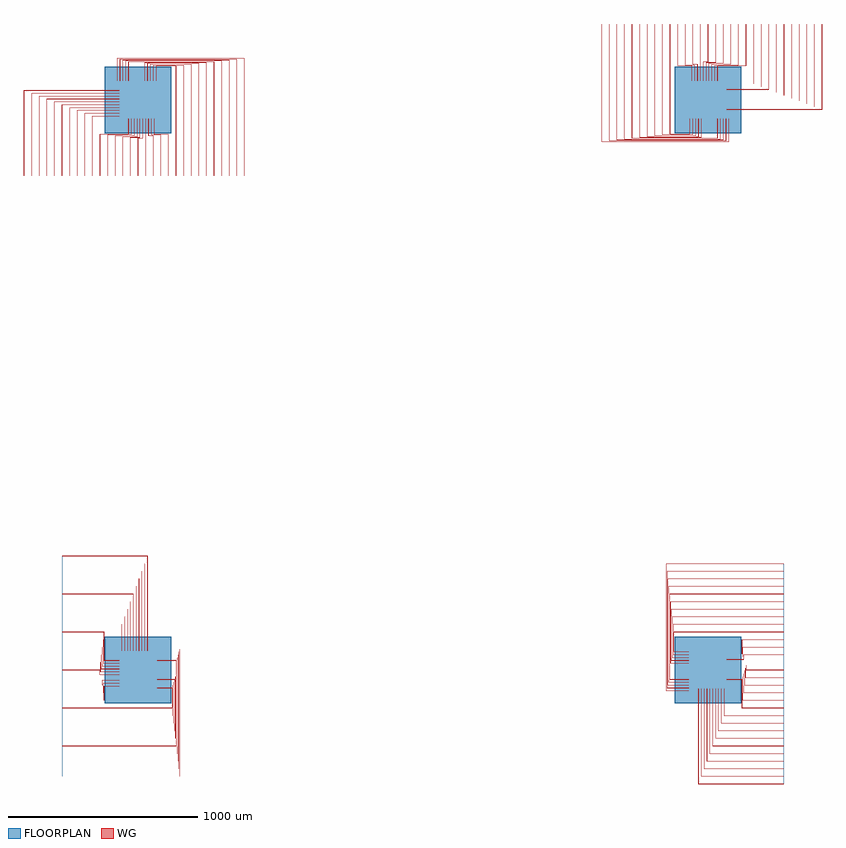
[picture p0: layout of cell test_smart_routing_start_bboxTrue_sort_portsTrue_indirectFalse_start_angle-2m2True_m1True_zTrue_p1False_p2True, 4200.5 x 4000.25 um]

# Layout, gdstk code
import gdstk
lib = gdstk.Library(unit=1e-6, precision=1e-09)
def R(c, l, rs):  # rectangles x0, y0, x1, y1
    for r in rs: c.add(gdstk.rectangle(r[:2], r[2:], *l))
def P(c, l, *ps):  # polygons
    for p in ps: c.add(gdstk.Polygon(p, *l))
WG = (1, 0)
FLOORPLAN = (10, 0)

test_smart_routing_start = lib.new_cell('test_smart_routing_start_bboxTrue_sort_portsTrue_indirectFalse_start_angle-2m2True_m1True_zTrue_p1False_p2True')
R(test_smart_routing_start, WG, [(-400,-40.25,-100,-39.75), (3100,39.75,3400,40.25), (39.75,2600,40.25,2900), (2959.75,3100,2960.25,3400)])
P(test_smart_routing_start, WG, [(3100,2949.75),(3100,2950.25),(3599.75,2950.25),(3599.75,3400),(3600.25,3400),(3600.25,2949.75)],
  [(3100,2964.75),(3100,2965.25),(3559.75,2965.25),(3559.75,3400),(3560.25,3400),(3560.25,2964.75)],
  [(3100,2979.75),(3100,2980.25),(3519.75,2980.25),(3519.75,3400),(3520.25,3400),(3520.25,2979.75)],
  [(3100,2994.75),(3100,2995.25),(3479.75,2995.25),(3479.75,3400),(3480.25,3400),(3480.25,2994.75)],
  [(3100,3009.75),(3100,3010.25),(3439.75,3010.25),(3439.75,3400),(3440.25,3400),(3440.25,3009.75)],
  [(3100,3024.75),(3100,3025.25),(3399.75,3025.25),(3399.75,3400),(3400.25,3400),(3400.25,3024.75)],
  [(3100,3039.75),(3100,3040.25),(3359.75,3040.25),(3359.75,3400),(3360.25,3400),(3360.25,3039.75)],
  [(3100,3054.75),(3100,3055.25),(3319.75,3055.25),(3319.75,3400),(3320.25,3400),(3320.25,3054.75)],
  [(3100,3069.75),(3100,3070.25),(3279.75,3070.25),(3279.75,3400),(3280.25,3400),(3280.25,3069.75)],
  [(3100,3084.75),(3100,3085.25),(3239.75,3085.25),(3239.75,3400),(3240.25,3400),(3240.25,3084.75)],
  [(3049.75,3100),(3049.75,3179.5),(3199.75,3179.5),(3199.75,3400),(3200.25,3400),(3200.25,3179),(3050.25,3179),(3050.25,3100)],
  [(3034.75,3100),(3034.75,3184),(3159.75,3184),(3159.75,3400),(3160.25,3400),(3160.25,3183.5),(3035.25,3183.5),(3035.25,3100)],
  [(3019.75,3100),(3019.75,3188.5),(3119.75,3188.5),(3119.75,3400),(3120.25,3400),(3120.25,3188),(3020.25,3188),(3020.25,3100)],
  [(3004.75,3100),(3004.75,3193),(3079.75,3193),(3079.75,3400),(3080.25,3400),(3080.25,3192.5),(3005.25,3192.5),(3005.25,3100)],
  [(2989.75,3100),(2989.75,3197.5),(3039.75,3197.5),(3039.75,3400),(3040.25,3400),(3040.25,3197),(2990.25,3197),(2990.25,3100)],
  [(2974.75,3100),(2974.75,3202),(2999.75,3202),(2999.75,3400),(3000.25,3400),(3000.25,3201.5),(2975.25,3201.5),(2975.25,3100)],
  [(2944.75,3100),(2944.75,3188),(2919.75,3188),(2919.75,3400),(2920.25,3400),(2920.25,3188.5),(2945.25,3188.5),(2945.25,3100)],
  [(2929.75,3100),(2929.75,3183.5),(2879.75,3183.5),(2879.75,3400),(2880.25,3400),(2880.25,3184),(2930.25,3184),(2930.25,3100)],
  [(2914.75,3100),(2914.75,3179),(2839.75,3179),(2839.75,3400),(2840.25,3400),(2840.25,3179.5),(2915.25,3179.5),(2915.25,3100)],
  [(2799.75,2820.5),(2799.75,3400),(2800.25,3400),(2800.25,2821),(2904.75,2821),(2904.75,2900),(2905.25,2900),(2905.25,2820.5)],
  [(2759.75,2816),(2759.75,3400),(2760.25,3400),(2760.25,2816.5),(2919.75,2816.5),(2919.75,2900),(2920.25,2900),(2920.25,2816)],
  [(2719.75,2811.5),(2719.75,3400),(2720.25,3400),(2720.25,2812),(2934.75,2812),(2934.75,2900),(2935.25,2900),(2935.25,2811.5)],
  [(2679.75,2807),(2679.75,3400),(2680.25,3400),(2680.25,2807.5),(2949.75,2807.5),(2949.75,2900),(2950.25,2900),(2950.25,2807)],
  [(2639.75,2802.5),(2639.75,3400),(2640.25,3400),(2640.25,2803),(2964.75,2803),(2964.75,2900),(2965.25,2900),(2965.25,2802.5)],
  [(2599.75,2798),(2599.75,3400),(2600.25,3400),(2600.25,2798.5),(3049.75,2798.5),(3049.75,2900),(3050.25,2900),(3050.25,2798)],
  [(2559.75,2793.5),(2559.75,3400),(2560.25,3400),(2560.25,2794),(3064.75,2794),(3064.75,2900),(3065.25,2900),(3065.25,2793.5)],
  [(2519.75,2789),(2519.75,3400),(2520.25,3400),(2520.25,2789.5),(3079.75,2789.5),(3079.75,2900),(3080.25,2900),(3080.25,2789)],
  [(2479.75,2784.5),(2479.75,3400),(2480.25,3400),(2480.25,2785),(3094.75,2785),(3094.75,2900),(3095.25,2900),(3095.25,2784.5)],
  [(2439.75,2780),(2439.75,3400),(2440.25,3400),(2440.25,2780.5),(3109.75,2780.5),(3109.75,2900),(3110.25,2900),(3110.25,2780)],
  [(-600.25,2600),(-600.25,3050.25),(-100,3050.25),(-100,3049.75),(-599.75,3049.75),(-599.75,2600)],
  [(-560.25,2600),(-560.25,3035.25),(-100,3035.25),(-100,3034.75),(-559.75,3034.75),(-559.75,2600)],
  [(-520.25,2600),(-520.25,3020.25),(-100,3020.25),(-100,3019.75),(-519.75,3019.75),(-519.75,2600)],
  [(-480.25,2600),(-480.25,3005.25),(-100,3005.25),(-100,3004.75),(-479.75,3004.75),(-479.75,2600)],
  [(-440.25,2600),(-440.25,2990.25),(-100,2990.25),(-100,2989.75),(-439.75,2989.75),(-439.75,2600)],
  [(-400.25,2600),(-400.25,2975.25),(-100,2975.25),(-100,2974.75),(-399.75,2974.75),(-399.75,2600)],
  [(-360.25,2600),(-360.25,2960.25),(-100,2960.25),(-100,2959.75),(-359.75,2959.75),(-359.75,2600)],
  [(-320.25,2600),(-320.25,2945.25),(-100,2945.25),(-100,2944.75),(-319.75,2944.75),(-319.75,2600)],
  [(-280.25,2600),(-280.25,2930.25),(-100,2930.25),(-100,2929.75),(-279.75,2929.75),(-279.75,2600)],
  [(-240.25,2600),(-240.25,2915.25),(-100,2915.25),(-100,2914.75),(-239.75,2914.75),(-239.75,2600)],
  [(-200.25,2600),(-200.25,2821),(-50.25,2821),(-50.25,2900),(-49.75,2900),(-49.75,2820.5),(-199.75,2820.5),(-199.75,2600)],
  [(-160.25,2600),(-160.25,2816.5),(-35.25,2816.5),(-35.25,2900),(-34.75,2900),(-34.75,2816),(-159.75,2816),(-159.75,2600)],
  [(-120.25,2600),(-120.25,2812),(-20.25,2812),(-20.25,2900),(-19.75,2900),(-19.75,2811.5),(-119.75,2811.5),(-119.75,2600)],
  [(-80.25,2600),(-80.25,2807.5),(-5.25,2807.5),(-5.25,2900),(-4.75,2900),(-4.75,2807),(-79.75,2807),(-79.75,2600)],
  [(-40.25,2600),(-40.25,2803),(9.75,2803),(9.75,2900),(10.25,2900),(10.25,2802.5),(-39.75,2802.5),(-39.75,2600)],
  [(-0.25,2600),(-0.25,2798.5),(24.75,2798.5),(24.75,2900),(25.25,2900),(25.25,2798),(0.25,2798),(0.25,2600)],
  [(79.75,2600),(79.75,2811.5),(54.75,2811.5),(54.75,2900),(55.25,2900),(55.25,2812),(80.25,2812),(80.25,2600)],
  [(119.75,2600),(119.75,2816),(69.75,2816),(69.75,2900),(70.25,2900),(70.25,2816.5),(120.25,2816.5),(120.25,2600)],
  [(159.75,2600),(159.75,2820.5),(84.75,2820.5),(84.75,2900),(85.25,2900),(85.25,2821),(160.25,2821),(160.25,2600)],
  [(199.75,2600),(199.75,3179),(95.25,3179),(95.25,3100),(94.75,3100),(94.75,3179.5),(200.25,3179.5),(200.25,2600)],
  [(239.75,2600),(239.75,3183.5),(80.25,3183.5),(80.25,3100),(79.75,3100),(79.75,3184),(240.25,3184),(240.25,2600)],
  [(279.75,2600),(279.75,3188),(65.25,3188),(65.25,3100),(64.75,3100),(64.75,3188.5),(280.25,3188.5),(280.25,2600)],
  [(319.75,2600),(319.75,3192.5),(50.25,3192.5),(50.25,3100),(49.75,3100),(49.75,3193),(320.25,3193),(320.25,2600)],
  [(359.75,2600),(359.75,3197),(35.25,3197),(35.25,3100),(34.75,3100),(34.75,3197.5),(360.25,3197.5),(360.25,2600)],
  [(399.75,2600),(399.75,3201.5),(-49.75,3201.5),(-49.75,3100),(-50.25,3100),(-50.25,3202),(400.25,3202),(400.25,2600)],
  [(439.75,2600),(439.75,3206),(-64.75,3206),(-64.75,3100),(-65.25,3100),(-65.25,3206.5),(440.25,3206.5),(440.25,2600)],
  [(479.75,2600),(479.75,3210.5),(-79.75,3210.5),(-79.75,3100),(-80.25,3100),(-80.25,3211),(480.25,3211),(480.25,2600)],
  [(519.75,2600),(519.75,3215),(-94.75,3215),(-94.75,3100),(-95.25,3100),(-95.25,3215.5),(520.25,3215.5),(520.25,2600)],
  [(559.75,2600),(559.75,3219.5),(-109.75,3219.5),(-109.75,3100),(-110.25,3100),(-110.25,3220),(560.25,3220),(560.25,2600)],
  [(49.75,100),(49.75,599.75),(-400,599.75),(-400,600.25),(50.25,600.25),(50.25,100)],
  [(34.75,100),(34.75,559.75),(-400,559.75),(-400,560.25),(35.25,560.25),(35.25,100)],
  [(19.75,100),(19.75,519.75),(-400,519.75),(-400,520.25),(20.25,520.25),(20.25,100)],
  [(4.75,100),(4.75,479.75),(-400,479.75),(-400,480.25),(5.25,480.25),(5.25,100)],
  [(-10.25,100),(-10.25,439.75),(-400,439.75),(-400,440.25),(-9.75,440.25),(-9.75,100)],
  [(-25.25,100),(-25.25,399.75),(-400,399.75),(-400,400.25),(-24.75,400.25),(-24.75,100)],
  [(-40.25,100),(-40.25,359.75),(-400,359.75),(-400,360.25),(-39.75,360.25),(-39.75,100)],
  [(-55.25,100),(-55.25,319.75),(-400,319.75),(-400,320.25),(-54.75,320.25),(-54.75,100)],
  [(-70.25,100),(-70.25,279.75),(-400,279.75),(-400,280.25),(-69.75,280.25),(-69.75,100)],
  [(-85.25,100),(-85.25,239.75),(-400,239.75),(-400,240.25),(-84.75,240.25),(-84.75,100)],
  [(-179.5,49.75),(-179.5,199.75),(-400,199.75),(-400,200.25),(-179,200.25),(-179,50.25),(-100,50.25),(-100,49.75)],
  [(-184,34.75),(-184,159.75),(-400,159.75),(-400,160.25),(-183.5,160.25),(-183.5,35.25),(-100,35.25),(-100,34.75)],
  [(-188.5,19.75),(-188.5,119.75),(-400,119.75),(-400,120.25),(-188,120.25),(-188,20.25),(-100,20.25),(-100,19.75)],
  [(-193,4.75),(-193,79.75),(-400,79.75),(-400,80.25),(-192.5,80.25),(-192.5,5.25),(-100,5.25),(-100,4.75)],
  [(-197.5,-10.25),(-197.5,39.75),(-400,39.75),(-400,40.25),(-197,40.25),(-197,-9.75),(-100,-9.75),(-100,-10.25)],
  [(-202,-25.25),(-202,-0.25),(-400,-0.25),(-400,0.25),(-201.5,0.25),(-201.5,-24.75),(-100,-24.75),(-100,-25.25)],
  [(-400,-80.25),(-400,-79.75),(-188.5,-79.75),(-188.5,-54.75),(-100,-54.75),(-100,-55.25),(-188,-55.25),(-188,-80.25)],
  [(-400,-120.25),(-400,-119.75),(-184,-119.75),(-184,-69.75),(-100,-69.75),(-100,-70.25),(-183.5,-70.25),(-183.5,-120.25)],
  [(-400,-160.25),(-400,-159.75),(-179.5,-159.75),(-179.5,-84.75),(-100,-84.75),(-100,-85.25),(-179,-85.25),(-179,-160.25)],
  [(-400,-200.25),(-400,-199.75),(179,-199.75),(179,-95.25),(100,-95.25),(100,-94.75),(179.5,-94.75),(179.5,-200.25)],
  [(-400,-240.25),(-400,-239.75),(183.5,-239.75),(183.5,-80.25),(100,-80.25),(100,-79.75),(184,-79.75),(184,-240.25)],
  [(-400,-280.25),(-400,-279.75),(188,-279.75),(188,-65.25),(100,-65.25),(100,-64.75),(188.5,-64.75),(188.5,-280.25)],
  [(-400,-320.25),(-400,-319.75),(192.5,-319.75),(192.5,-50.25),(100,-50.25),(100,-49.75),(193,-49.75),(193,-320.25)],
  [(-400,-360.25),(-400,-359.75),(197,-359.75),(197,-35.25),(100,-35.25),(100,-34.75),(197.5,-34.75),(197.5,-360.25)],
  [(-400,-400.25),(-400,-399.75),(201.5,-399.75),(201.5,49.75),(100,49.75),(100,50.25),(202,50.25),(202,-400.25)],
  [(-400,-440.25),(-400,-439.75),(206,-439.75),(206,64.75),(100,64.75),(100,65.25),(206.5,65.25),(206.5,-440.25)],
  [(-400,-480.25),(-400,-479.75),(210.5,-479.75),(210.5,79.75),(100,79.75),(100,80.25),(211,80.25),(211,-480.25)],
  [(-400,-520.25),(-400,-519.75),(215,-519.75),(215,94.75),(100,94.75),(100,95.25),(215.5,95.25),(215.5,-520.25)],
  [(-400,-560.25),(-400,-559.75),(219.5,-559.75),(219.5,109.75),(100,109.75),(100,110.25),(220,110.25),(220,-560.25)],
  [(2949.75,-600.25),(2949.75,-100),(2950.25,-100),(2950.25,-599.75),(3400,-599.75),(3400,-600.25)],
  [(2964.75,-560.25),(2964.75,-100),(2965.25,-100),(2965.25,-559.75),(3400,-559.75),(3400,-560.25)],
  [(2979.75,-520.25),(2979.75,-100),(2980.25,-100),(2980.25,-519.75),(3400,-519.75),(3400,-520.25)],
  [(2994.75,-480.25),(2994.75,-100),(2995.25,-100),(2995.25,-479.75),(3400,-479.75),(3400,-480.25)],
  [(3009.75,-440.25),(3009.75,-100),(3010.25,-100),(3010.25,-439.75),(3400,-439.75),(3400,-440.25)],
  [(3024.75,-400.25),(3024.75,-100),(3025.25,-100),(3025.25,-399.75),(3400,-399.75),(3400,-400.25)],
  [(3039.75,-360.25),(3039.75,-100),(3040.25,-100),(3040.25,-359.75),(3400,-359.75),(3400,-360.25)],
  [(3054.75,-320.25),(3054.75,-100),(3055.25,-100),(3055.25,-319.75),(3400,-319.75),(3400,-320.25)],
  [(3069.75,-280.25),(3069.75,-100),(3070.25,-100),(3070.25,-279.75),(3400,-279.75),(3400,-280.25)],
  [(3084.75,-240.25),(3084.75,-100),(3085.25,-100),(3085.25,-239.75),(3400,-239.75),(3400,-240.25)],
  [(3179,-200.25),(3179,-50.25),(3100,-50.25),(3100,-49.75),(3179.5,-49.75),(3179.5,-199.75),(3400,-199.75),(3400,-200.25)],
  [(3183.5,-160.25),(3183.5,-35.25),(3100,-35.25),(3100,-34.75),(3184,-34.75),(3184,-159.75),(3400,-159.75),(3400,-160.25)],
  [(3188,-120.25),(3188,-20.25),(3100,-20.25),(3100,-19.75),(3188.5,-19.75),(3188.5,-119.75),(3400,-119.75),(3400,-120.25)],
  [(3192.5,-80.25),(3192.5,-5.25),(3100,-5.25),(3100,-4.75),(3193,-4.75),(3193,-79.75),(3400,-79.75),(3400,-80.25)],
  [(3197,-40.25),(3197,9.75),(3100,9.75),(3100,10.25),(3197.5,10.25),(3197.5,-39.75),(3400,-39.75),(3400,-40.25)],
  [(3201.5,-0.25),(3201.5,24.75),(3100,24.75),(3100,25.25),(3202,25.25),(3202,0.25),(3400,0.25),(3400,-0.25)],
  [(3100,54.75),(3100,55.25),(3188,55.25),(3188,80.25),(3400,80.25),(3400,79.75),(3188.5,79.75),(3188.5,54.75)],
  [(3100,69.75),(3100,70.25),(3183.5,70.25),(3183.5,120.25),(3400,120.25),(3400,119.75),(3184,119.75),(3184,69.75)],
  [(3100,84.75),(3100,85.25),(3179,85.25),(3179,160.25),(3400,160.25),(3400,159.75),(3179.5,159.75),(3179.5,84.75)],
  [(2820.5,94.75),(2820.5,200.25),(3400,200.25),(3400,199.75),(2821,199.75),(2821,95.25),(2900,95.25),(2900,94.75)],
  [(2816,79.75),(2816,240.25),(3400,240.25),(3400,239.75),(2816.5,239.75),(2816.5,80.25),(2900,80.25),(2900,79.75)],
  [(2811.5,64.75),(2811.5,280.25),(3400,280.25),(3400,279.75),(2812,279.75),(2812,65.25),(2900,65.25),(2900,64.75)],
  [(2807,49.75),(2807,320.25),(3400,320.25),(3400,319.75),(2807.5,319.75),(2807.5,50.25),(2900,50.25),(2900,49.75)],
  [(2802.5,34.75),(2802.5,360.25),(3400,360.25),(3400,359.75),(2803,359.75),(2803,35.25),(2900,35.25),(2900,34.75)],
  [(2798,-50.25),(2798,400.25),(3400,400.25),(3400,399.75),(2798.5,399.75),(2798.5,-49.75),(2900,-49.75),(2900,-50.25)],
  [(2793.5,-65.25),(2793.5,440.25),(3400,440.25),(3400,439.75),(2794,439.75),(2794,-64.75),(2900,-64.75),(2900,-65.25)],
  [(2789,-80.25),(2789,480.25),(3400,480.25),(3400,479.75),(2789.5,479.75),(2789.5,-79.75),(2900,-79.75),(2900,-80.25)],
  [(2784.5,-95.25),(2784.5,520.25),(3400,520.25),(3400,519.75),(2785,519.75),(2785,-94.75),(2900,-94.75),(2900,-95.25)],
  [(2780,-110.25),(2780,560.25),(3400,560.25),(3400,559.75),(2780.5,559.75),(2780.5,-109.75),(2900,-109.75),(2900,-110.25)])
R(test_smart_routing_start, FLOORPLAN, [(-175,-175,175,175), (2825,-175,3175,175), (-175,2825,175,3175), (2825,2825,3175,3175)])
P(test_smart_routing_start, FLOORPLAN, [(-400,-560),(-400,600),(-400,600),(-400,-560)],
  [(-600,2600),(-600,2600),(560,2600),(560,2600)],
  [(3400,-600),(3400,560),(3400,560),(3400,-600)],
  [(2440,3400),(2440,3400),(3600,3400),(3600,3400)])

lib.write_gds('test_smart_routing_start_bboxTrue_sort_portsTrue_indirectFalse_start_angle-2m2True_m1True_zTrue_p1False_p2True.gds')
